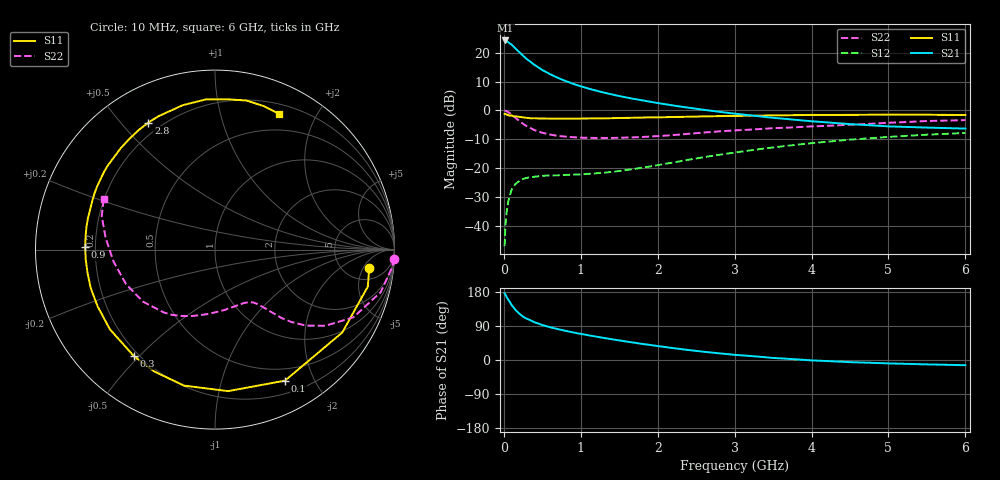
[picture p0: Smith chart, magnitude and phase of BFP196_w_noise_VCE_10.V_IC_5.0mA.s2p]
! Infineon Technologies  Discrete & RF Semiconductors
! BFP196
! VCE =  10. V,  IC =  5.0 mA
! Common Emitter S-Parameters:  Jan 2017
# GHz  S  MA  R  50
!  f  S11  S21  S12  S22
! GHz  MAG  ANG  MAG  ANG  MAG  ANG  MAG  ANG
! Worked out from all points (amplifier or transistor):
!   77 points, 10 MHz to 6 GHz, reference 50 ohm
!   highest |S21| = 24.2 dB at 20 MHz (marker M1)
!   |S21| within 3 dB of that: start of sweep to 160.7 MHz
!   unconditionally stable (mu >= 1): 1.205 GHz to 2.336 GHz
!   at 130 MHz: K = 0.14, MSG = 24.1 dB, |S12| = -26.2 dB
!   at 2.2 GHz: K = 1.03, MAG = 8.7 dB, |S12| = -18.0 dB
!   at 6 GHz: K = 0.93, MSG = 0.7 dB, |S12| = -7.8 dB
!   lowest NFmin = 1.01 dB at 450 MHz
!   S11 on the Smith chart (normalised r, x): 10 MHz: 8, -7; 100 MHz: 0.35, -1.61; 300 MHz: 0.18, -0.48; 900 MHz: 0.16, +0.01; 2.8 GHz: 0.15, +0.59; 6 GHz: 0.30, +1.53
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0.01  0.8653 -6.9  16.08 176.2  0.0045 84.5  1 -2.9
0.02  0.8761 -13.6  16.25 172.5  0.0097 83.3  0.9903 -6.0
0.05  0.8462 -33.1  15.45 161.3  0.0237 72.5  0.9535 -14.4
0.1  0.8277 -61.9  13.82 145.2  0.0422 60.4  0.8577 -26.1
0.15  0.7919 -84.7  11.88 132.3  0.0534 48.8  0.7487 -34.5
0.2  0.7772 -102.8  10.23 122.5  0.0603 42.2  0.6604 -39.9
0.25  0.7588 -116.6  8.844 114.4  0.0654 36.6  0.5877 -43.4
0.3  0.7458 -127.4  7.713 108.7  0.0686 32.9  0.5315 -45.8
0.4  0.7349 -142.9  6.116 99.3  0.0715 29.2  0.4567 -48.4
0.5  0.7265 -154.3  5.015 92.3  0.074 27.1  0.4119 -50.4
0.6  0.7247 -162.8  4.254 86.6  0.0753 26.4  0.3828 -52.2
0.7  0.722 -169.7  3.676 81.6  0.0756 27.1  0.3642 -54.0
0.9  0.7232 179.0  2.892 72.8  0.0777 29.1  0.3449 -58.7
1.1  0.7273 169.9  2.394 65.3  0.0803 32.8  0.3367 -64.2
1.3  0.7305 162.1  2.039 58.2  0.0837 36.9  0.3348 -70.6
1.5  0.7408 155.1  1.777 51.8  0.0896 41.1  0.3366 -77.6
2.1  0.7653 135.8  1.282 34.2  0.1195 50.2  0.3673 -99.7
2.8  0.7992 117.7  0.949 17.6  0.171 51.4  0.4352 -123.3
3.1  0.8083 111.0  0.853 12.2  0.1953 49.2  0.4586 -132.6
4.1  0.8372 91.9  0.637 -1.9  0.2798 38.7  0.5362 -161.8
5.1  0.847 76.7  0.526 -9.5  0.3551 24.9  0.6205 171.6
6  0.8361 64.9  0.486 -13.7  0.409 12.6  0.6821 155.4
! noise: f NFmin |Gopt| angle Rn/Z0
0.45  1.01  0.42  127  0.08
0.9  1.47  0.55  170  0.06
1.9  2.9  0.74  -142  0.31
2.4  3.55  0.76  -125  0.95
